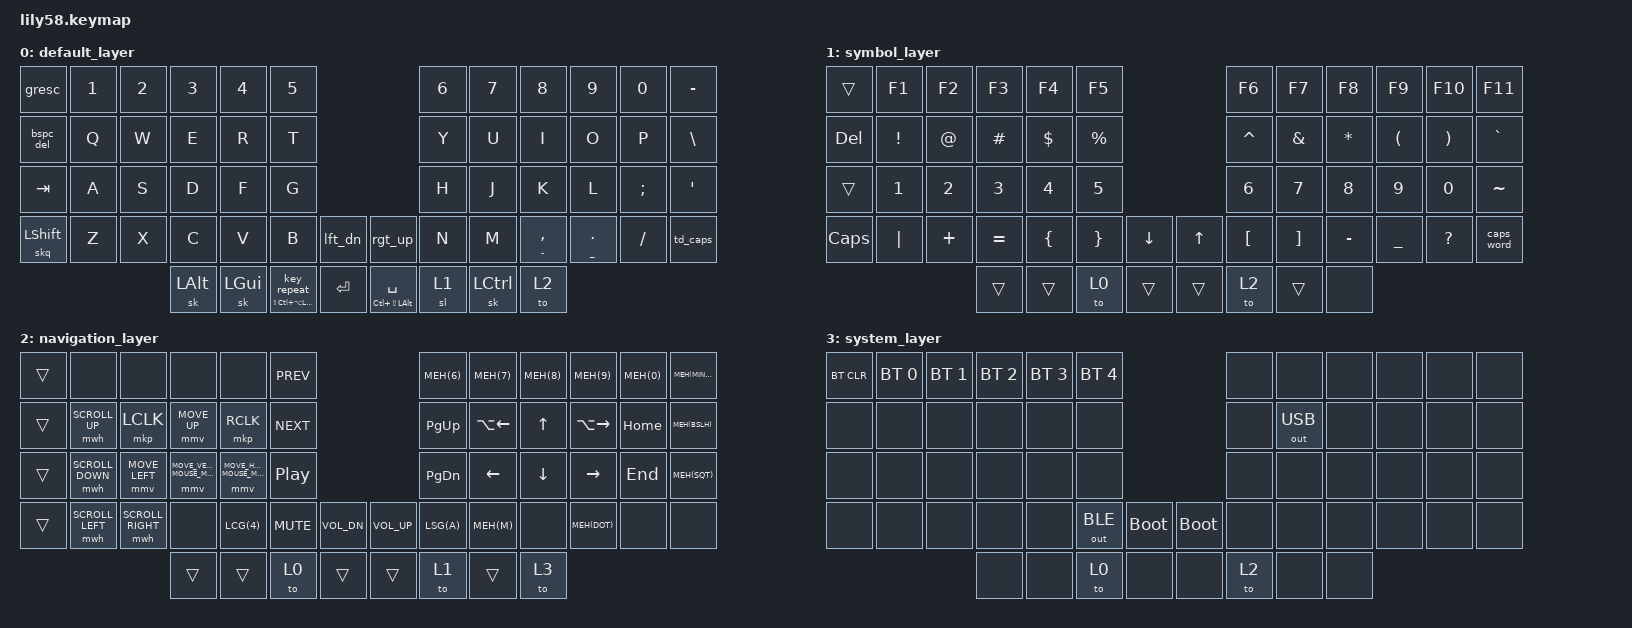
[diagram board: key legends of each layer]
/*
 * Copyright (c) 2020 The ZMK Contributors
 *
 * SPDX-License-Identifier: MIT
 */

#include <behaviors.dtsi>
#include <dt-bindings/zmk/keys.h>
#include <dt-bindings/zmk/bt.h>
#include <dt-bindings/zmk/ext_power.h>
#include <dt-bindings/zmk/outputs.h>
#include <dt-bindings/zmk/mouse.h>

// misc aliases
#define MEH(key) LC(LS(LA(key)))         // MEH(key) = Ctrl+Shift+Alt+<key>
#define MEHK LC(LS(LALT))                // MEHK = Ctrl+Shift+Alt
#define HYPER LS(LC(LA(LGUI)))           // HYPER = Ctrl+Shift+GUI
#define HYP(key) LS(LC(LA(LG(key))))     // HYP(key) = Ctrl+Shift+Alt+GUI+<key>
#define LSG(key) LS(LG(key))             // LSG(key) = Shift+GUI+<key>
#define LCG(key) LC(LG(key))             // LCG(key) = Ctrl+GUI+<key>
#define W_PREV LA(LEFT)                  // Previous Word
#define W_NEXT LA(RIGHT)                 // Next Word

&mt {
  flavor = "tap-preferred";
  tapping_term_ms = <200>;
};

&sl {
  release-after-ms = <2000>;
};

&mmv {
    time-to-max-speed-ms = <1500>;
    acceleration-exponent = <1>;
};

#define U_MOUSE_MOVE_MAX 1400

#undef MOVE_UP
#undef MOVE_DOWN
#undef MOVE_LEFT
#undef MOVE_RIGHT
#define MOVE_UP MOVE_VERT(-U_MOUSE_MOVE_MAX)
#define MOVE_DOWN MOVE_VERT(U_MOUSE_MOVE_MAX)
#define MOVE_LEFT MOVE_HOR(-U_MOUSE_MOVE_MAX)
#define MOVE_RIGHT MOVE_HOR(U_MOUSE_MOVE_MAX)

/ {

  behaviors {
    hm: homerow_mods {
      compatible = "zmk,behavior-hold-tap";
      label = "HOMEROW_MODS";
      #binding-cells = <2>;
      tapping-term-ms = <250>;
      quick_tap_ms = <0>;
      flavor = "tap-preferred";
      bindings = <&kp>, <&kp>;
    };
    td_caps: tap_dance_smart_shift {
      compatible = "zmk,behavior-tap-dance";
      label = "TAP_DANCE_SMART_SHIFT";
      #binding-cells = <0>;
      tapping-term-ms = <250>;
      bindings = <&sk RSHIFT>, <&caps_word>;
    };
    skq: sticky_key_quick_release {
      compatible = "zmk,behavior-sticky-key";
      label = "STICKY_KEY_QUICK_RELEASE";
      #binding-cells = <1>;
      bindings = <&kp>;
      release-after-ms = <1000>;
      quick-release;
      ignore-modifiers;
    };
    ht_rpt: holdtap_repeat {
      compatible = "zmk,behavior-hold-tap";
      label = "HOLDTAP_REPEAT";
      #binding-cells = <2>;
      tapping-term-ms = <200>;
      flavor = "hold-preferred";
      bindings = <&kp>, <&key_repeat>;
    };
    bspc_del: backspace_delete {
      compatible = "zmk,behavior-mod-morph";
      label = "BACKSPACE_DELETE";
      #binding-cells = <0>;
      bindings = <&kp BACKSPACE>, <&kp DELETE>;
      mods = <(MOD_LSFT|MOD_RSFT)>;
    };
    lft_dn: left_down {
      compatible = "zmk,behavior-mod-morph";
      label = "LEFT_DOWN";
      #binding-cells = <0>;
      bindings = <&kp LEFT>, <&kp DOWN>;
      mods = <(MOD_LSFT|MOD_RSFT)>;
    };
    rgt_up: right_up {
      compatible = "zmk,behavior-mod-morph";
      label = "RIGHT_UP";
      #binding-cells = <0>;
      bindings = <&kp RIGHT>, <&kp UP>;
      mods = <(MOD_LSFT|MOD_RSFT)>;
    };
  };

// key positions
// --------------------------------------------------------------------------------
// |  0  |  1  |  2  |  3  |  4  |  5  |               |  6  |  7  |  8  |  9  |  10 |  11 |
// |  12 |  13 |  14 |  15 |  16 |  17 |               |  18 |  19 |  20 |  21 |  22 |  23 |
// |  24 |  25 |  26 |  27 |  28 |  29 |               |  30 |  31 |  32 |  33 |  34 |  35 |
// |  36 |  37 |  38 |  39 |  40 |  41 |  42 |    | 43 |  44 |  45 |  46 |  47 |  48 |  49 |
//                   |  50 |  51 |  52 |  53 |    | 54 |  55 |  56 |  57 |
//

  keymap {
    compatible = "zmk,keymap";
    default_layer {
// ----------------------------------------------------------------------------------------------------------
// |  ESC  |  1  |  2  |  3   |  4   |  5   |                  |  6   |  7   |  8   |  9   |   0   |   -   |
// |  BSPC |  Q  |  W  |  E   |  R   |  T   |                  |  Y   |  U   |  I   |  O   |   P   |   \   |
// |  TAB  |  A  |  S  |  D   |  F   |  G   |                  |  H   |  J   |  K   |  L   |   ;   |   '   |
// | SHIFT |  Z  |  X  |  C   |  V   |  B   |  ← ↓  |  |  ↑ →  |  N   |  M   |  ,   |  .   |   /   | SHIFT |
//                     | ALT  | CMD  | LWR  | ENTER |  | SPACE | SYM  | CTRL |  NAV |
      bindings = <
&gresc      &kp N1 &kp N2       &kp N3      &kp N4      &kp N5                                &kp N6  &kp N7      &kp N8          &kp N9        &kp N0   &kp MINUS
&bspc_del   &kp Q  &kp W        &kp E       &kp R       &kp T                                 &kp Y   &kp U       &kp I           &kp O         &kp P    &kp BSLH
&kp TAB     &kp A  &kp S        &kp D       &kp F       &kp G                                 &kp H   &kp J       &kp K           &kp L         &kp SEMI &kp SQT
&skq LSHFT  &kp Z  &kp X        &kp C       &kp V       &kp B           &lft_dn  &rgt_up      &kp N   &kp M       &hm MINUS COMMA &hm UNDER DOT &kp FSLH &td_caps
                                &sk LALT    &sk LGUI    &ht_rpt HYPER 0 &kp RET  &mt MEHK SPC &sl 1   &sk LCTRL   &to 2
      >;
    };

    symbol_layer {
// ----------------------------------------------------------------------------------------------------
// |       |  F1 |  F2 |  F3  |  F4 |  F5 |                  |  F6  |  F7 |  F8  |  F9 | F10  |  F11  |
// |  DEL  |  !  |  @  |  #   |  $  |  %  |                  |  ^   |  &  |  *   |  (  |  )   |   `   |
// |       |  1  |  2  |  3   |  4  |  5  |                  |  6   |  7  |  8   |  9  |  0   |   ~   |
// |       | "|" |  +  |  =   |  {  |  }  |   ↓   |  |   ↑   |  [   |  ]  |  -   |  _  |  ?   |       |
//                     |      |     | LWR |       |  |       |  NAV |     |      |
      bindings = <
&trans   &kp F1      &kp F2    &kp F3      &kp F4      &kp F5                     &kp F6      &kp F7    &kp F8    &kp F9    &kp F10     &kp F11
&kp DEL  &kp EXCL    &kp AT    &kp HASH    &kp DOLLAR  &kp PRCNT                  &kp CARET   &kp AMPS  &kp ASTRK &kp LPAR  &kp RPAR    &kp GRAVE
&trans   &kp N1      &kp N2    &kp N3      &kp N4      &kp N5                     &kp N6      &kp N7    &kp N8    &kp N9    &kp N0      &kp TILDE
&kp CAPS &kp PIPE    &kp PLUS  &kp EQUAL   &kp LBRC    &kp RBRC  &kp DOWN &kp UP  &kp LBKT    &kp RBKT  &kp MINUS &kp UNDER &kp QMARK   &caps_word
                               &trans      &trans      &to 0     &trans   &trans  &to 2       &trans    &none
      >;
    };

    navigation_layer {
// ------------------------------------------------------------------------------------------------------------------
// |       |      |       |       |       |  <<  |                  | MEH+6 | MEH+7 | MEH+8 | MEH+9 | MEH+0 | MEH+- |
// |       | MW ↑ | L CLK |  M ↑  | R CLK |  >>  |                  | PG ↑  | ⌥+←   |   ↑   |  ⌥+→  | HOME  | MEH+\ |
// |       | MW ↓ |  M ←  |  M ↓  |  M →  | PLAY |                  | PG ↓  |   ←   |   ↓   |   →   | END   | MEH+' |
// |       | MW ← |  MW → |       | ⌃+⌘+4 | MUTE | VOL + |  | VOL - | ⇧+⌘+A | TAB ← |       | TAB → |       |       |
//                        |       |       | LWR  |       |  |       |  SYM  |       |  SYS  |
      bindings = <
&trans  &none            &none             &none          &none           &kp C_PREV                           &kp MEH(6) &kp MEH(7) &kp MEH(8) &kp MEH(9)   &kp MEH(0) &kp MEH(MINUS)
&trans  &mwh SCROLL_UP   &mkp LCLK         &mmv MOVE_UP   &mkp RCLK       &kp C_NEXT                           &kp PG_UP  &kp W_PREV  &kp UP    &kp W_NEXT   &kp HOME   &kp MEH(BSLH)
&trans  &mwh SCROLL_DOWN &mmv MOVE_LEFT    &mmv MOVE_DOWN &mmv MOVE_RIGHT &kp C_PP                             &kp PG_DN  &kp LEFT    &kp DOWN  &kp RIGHT    &kp END    &kp MEH(SQT)
&trans  &mwh SCROLL_LEFT &mwh SCROLL_RIGHT &none          &kp LCG(4)      &kp K_MUTE &kp C_VOL_DN &kp C_VOL_UP &kp LSG(A) &kp MEH(M)  &none     &kp MEH(DOT) &none      &none
                                           &trans         &trans          &to 0      &trans       &trans       &to 1      &trans      &to 3
      >;
    };

    system_layer {
// -------------------------------------------------------------------------------------------------------------------
// | BTCLR |  BT1  |  BT2  |  BT3  |  BT4  |  BT4  |                  |       |       |       |       |       |       |
// |       |       |       |       |       |       |                  |       |  USB  |       |       |       |       |
// |       |       |       |       |       |       |                  |       |       |       |       |       |       |
// |       |       |       |       |       |  BLE  | FLASH |  | FLASH |       |       |       |       |       |       |
//                         |       |       |  LWR  |       |  |       |  NAV  |       |       |
      bindings = <
&bt BT_CLR &bt BT_SEL 0 &bt BT_SEL 1 &bt BT_SEL 2 &bt BT_SEL 3 &bt BT_SEL 4                         &none &none        &none &none &none &none
&none      &none        &none        &none        &none        &none                                &none &out OUT_USB &none &none &none &none
&none      &none        &none        &none        &none        &none                                &none &none        &none &none &none &none
&none      &none        &none        &none        &none        &out OUT_BLE &bootloader &bootloader &none &none        &none &none &none &none
                                     &none        &none        &to 0        &none       &none       &to 2 &none        &none
      >;
    };
  };
};
